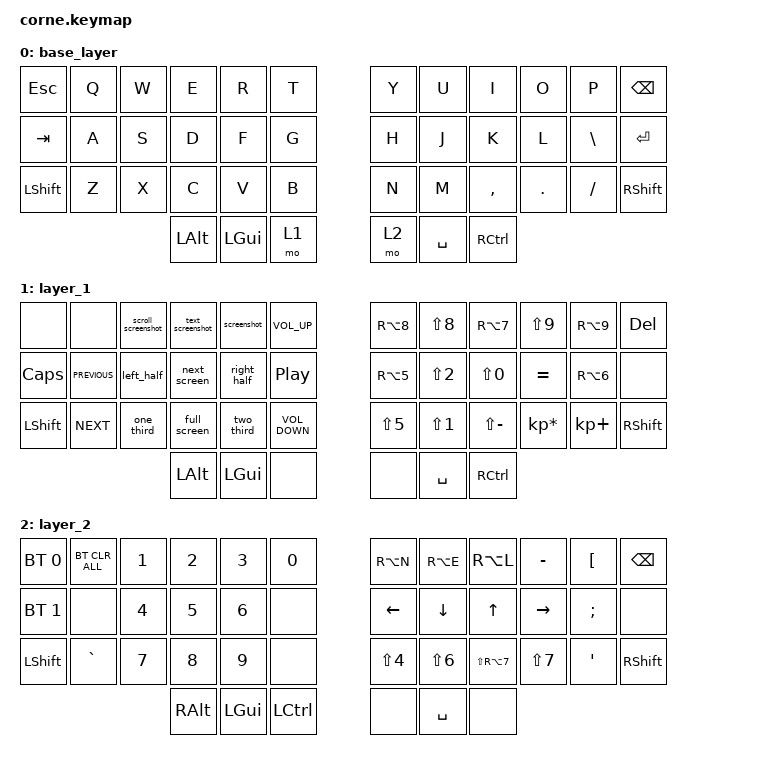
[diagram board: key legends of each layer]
/*
 * Copyright (c) 2020 The ZMK Contributors
 *
 * SPDX-License-Identifier: MIT
 */

#include <behaviors.dtsi>
#include <dt-bindings/zmk/bt.h>
#include <dt-bindings/zmk/keys.h>

/ {
    macros {
        scroll_screenshot: m1 {
            compatible = "zmk,behavior-macro";
            #binding-cells = <0>;
            bindings = <&kp LS(LG(NUMBER_1))>;
            label = "M1";
        };

        text_screenshot: m2 {
            compatible = "zmk,behavior-macro";
            #binding-cells = <0>;
            bindings = <&kp LS(LG(NUMBER_2))>;
            label = "M2";
        };

        screenshot: m3 {
            compatible = "zmk,behavior-macro";
            #binding-cells = <0>;
            bindings = <&kp LS(LG(NUMBER_3))>;
            label = "M3";
        };

        left_half: m4 {
            compatible = "zmk,behavior-macro";
            #binding-cells = <0>;
            bindings = <&kp LA(LC(LG(LEFT_ARROW)))>;
            label = "M4";
        };

        next_screen: m5 {
            compatible = "zmk,behavior-macro";
            #binding-cells = <0>;
            bindings = <&kp LA(LC(LG(UP_ARROW)))>;
            label = "M5";
        };

        right_half: m6 {
            compatible = "zmk,behavior-macro";
            #binding-cells = <0>;
            bindings = <&kp LA(LC(LG(RIGHT_ARROW)))>;
            label = "M6";
        };

        one_third: m7 {
            compatible = "zmk,behavior-macro";
            #binding-cells = <0>;
            bindings = <&kp LA(LG(LEFT_ARROW))>;
            label = "M7";
        };

        two_third: m8 {
            compatible = "zmk,behavior-macro";
            #binding-cells = <0>;
            bindings = <&kp LA(LG(RIGHT_ARROW))>;
            label = "M8";
        };

        full_screen: m9 {
            compatible = "zmk,behavior-macro";
            #binding-cells = <0>;
            bindings = <&kp LA(LC(LG(M)))>;
            label = "M9";
        };
    };

    keymap {
        compatible = "zmk,keymap";

        base_layer {
            // -----------------------------------------------------------------------------------------
            // |  TAB |  Q  |  W  |  E  |  R  |  T  |   |  Y  |  U   |  I  |  O  |  P  | BKSP |
            // | CTRL |  A  |  S  |  D  |  F  |  G  |   |  H  |  J   |  K  |  L  |  ;  |  '   |
            // | SHFT |  Z  |  X  |  C  |  V  |  B  |   |  N  |  M   |  ,  |  .  |  /  | ESC  |
            //                    | GUI | LWR | SPC |   | ENT | RSE  | ALT |

            bindings = <
&kp ESC    &kp Q  &kp W  &kp E         &kp R         &kp T    &kp Y  &kp U      &kp I      &kp O    &kp P          &kp BSPC
&kp TAB    &kp A  &kp S  &kp D         &kp F         &kp G    &kp H  &kp J      &kp K      &kp L    &kp BACKSLASH  &kp ENTER
&kp LSHFT  &kp Z  &kp X  &kp C         &kp V         &kp B    &kp N  &kp M      &kp COMMA  &kp DOT  &kp FSLH       &kp RIGHT_SHIFT
                         &kp LEFT_ALT  &kp LEFT_GUI  &mo 1    &mo 2  &kp SPACE  &kp RCTRL
            >;
        };

        layer_1 {
            // -----------------------------------------------------------------------------------------
            // |  TAB |  !  |  @  |  #  |  $  |  %  |   |  ^  |  &  |  *  |  (  |  )  | BKSP |
            // | CTRL |     |     |     |     |     |   |  -  |  =  |  [  |  ]  |  \  |  `   |
            // | SHFT |     |     |     |     |     |   |  _  |  +  |  {  |  }  | "|" |  ~   |
            //                    | GUI |     | SPC |   | ENT |     | ALT |

            bindings = <
&none         &none           &scroll_screenshot  &text_screenshot  &screenshot   &kp C_VOLUME_UP      &kp RA(N8)  &kp LS(N8)        &kp RA(N7)         &kp LS(N9)       &kp RA(N9)        &kp DELETE
&kp CAPSLOCK  &kp C_PREVIOUS  &left_half          &next_screen      &right_half   &kp C_PLAY_PAUSE     &kp RA(N5)  &kp LS(NUMBER_2)  &kp LS(N0)         &kp EQUAL        &kp RA(NUMBER_6)  &none
&kp LSHFT     &kp C_NEXT      &one_third          &full_screen      &two_third    &kp C_VOLUME_DOWN    &kp LS(N5)  &kp LS(NUMBER_1)  &kp LS(MINUS)      &kp KP_MULTIPLY  &kp KP_PLUS       &kp RIGHT_SHIFT
                                                  &kp LEFT_ALT      &kp LEFT_GUI  &none                &none       &kp SPACE         &kp RIGHT_CONTROL
            >;
        };

        layer_2 {
            // -----------------------------------------------------------------------------------------
            // |  TAB |  1  |  2  |  3  |  4  |  5  |   |  6  |  7  |  8  |  9  |  0  | BKSP |
            // | BTCLR| BT1 | BT2 | BT3 | BT4 | BT5 |   | LFT | DWN |  UP | RGT |     |      |
            // | SHFT |     |     |     |     |     |   |     |     |     |     |     |      |
            //                    | GUI |     | SPC |   | ENT |     | ALT |

            bindings = <
&bt BT_SEL 0  &bt BT_CLR_ALL  &kp NUMBER_1  &kp NUMBER_2   &kp NUMBER_3  &kp N0       &kp RA(N)         &kp RA(E)         &kp RA(L)       &kp MINUS   &kp LEFT_BRACKET  &kp BSPC
&bt BT_SEL 1  &none           &kp NUMBER_4  &kp NUMBER_5   &kp NUMBER_6  &none        &kp LEFT          &kp DOWN          &kp UP          &kp RIGHT   &kp SEMI          &none
&kp LSHFT     &kp GRAVE       &kp NUMBER_7  &kp NUMBER_8   &kp NUMBER_9  &none        &kp LS(NUMBER_4)  &kp LS(NUMBER_6)  &kp LS(RA(N7))  &kp LS(N7)  &kp SINGLE_QUOTE  &kp RIGHT_SHIFT
                                            &kp RIGHT_ALT  &kp LEFT_GUI  &kp LCTRL    &none             &kp SPACE         &none
            >;
        };
    };
};
